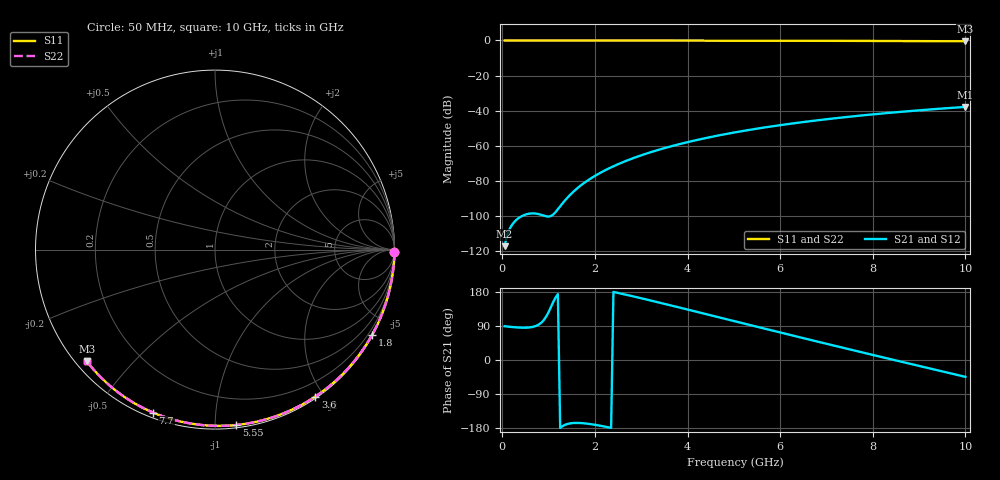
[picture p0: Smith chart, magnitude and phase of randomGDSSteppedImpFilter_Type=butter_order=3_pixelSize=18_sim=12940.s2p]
! freq	dB(S11)	phase(S11)	dB(S12)	phase(S12)
!  dB(S21)	phase(S21)	dB(S22)	phase(S22)
!S-par simulation data
#  GHz  S  DB  R 50
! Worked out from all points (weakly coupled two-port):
!   200 points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, 50 MHz to 10 GHz, reference 50 ohm
!   highest |S21| = -37.82 dB at 10 GHz (marker M1); lowest = -117.1 dB at 50 MHz (marker M2)
!   lowest |S11| = -0.5 dB at 10 GHz (marker M3), VSWR 36.89, Z = 1.55 - j18.7 ohm
!   |S11| at or under -10 dB: nowhere
!   |S22| runs from -0.5 to 0.0 dB; largest |S21 - S12| = 0
!   S11 on the Smith chart (normalised r, x): 50 MHz: open; 1.8 GHz: 0.03, -3.94; 3.6 GHz: 0.02, -1.89; 5.55 GHz: 0.02, -1.13; 7.7 GHz: 0.02, -0.69; 10 GHz: 0.03, -0.37
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0.05  -0.00 -0.8  -117.11 89.2  -117.11 89.2  -0.00 -0.8
0.45  -0.01 -7.2  -99.63 85.2  -99.63 85.2  -0.01 -7.2
0.9  -0.02 -14.4  -99.75 105.9  -99.75 105.9  -0.02 -14.4
1.75  -0.04 -27.7  -81.44 -166.9  -81.44 -166.9  -0.04 -27.7
1.8  -0.04 -28.5  -80.49 -167.5  -80.49 -167.5  -0.04 -28.5
1.85  -0.04 -29.3  -79.59 -168.3  -79.59 -168.3  -0.04 -29.3
2.05  -0.04 -32.4  -76.32 -172.0  -76.32 -172.0  -0.04 -32.4
2.25  -0.05 -35.4  -73.50 -176.6  -73.50 -176.6  -0.05 -35.4
2.55  -0.05 -40.0  -69.87 175.6  -69.87 175.6  -0.05 -40.0
2.95  -0.06 -46.0  -65.83 164.4  -65.83 164.4  -0.06 -46.0
3.4  -0.07 -52.7  -62.05 151.2  -62.05 151.2  -0.07 -52.7
3.6  -0.07 -55.7  -60.57 145.2  -60.57 145.2  -0.07 -55.7
3.9  -0.08 -60.0  -58.52 136.2  -58.52 136.2  -0.08 -60.0
4.3  -0.09 -65.7  -56.08 124.1  -56.08 124.1  -0.09 -65.7
5.05  -0.12 -76.2  -52.20 101.3  -52.20 101.3  -0.12 -76.2
5.55  -0.14 -83.0  -49.99 86.2  -49.99 86.2  -0.14 -83.0
6.1  -0.16 -90.3  -47.85 69.6  -47.85 69.6  -0.16 -90.4
6.7  -0.19 -98.2  -45.78 51.7  -45.78 51.7  -0.19 -98.2
7.7  -0.25 -110.8  -42.85 22.1  -42.85 22.1  -0.25 -110.8
8.35  -0.30 -118.9  -41.22 3.2  -41.22 3.2  -0.30 -118.9
9.2  -0.38 -129.2  -39.35 -21.4  -39.35 -21.4  -0.38 -129.3
10  -0.47 -138.9  -37.82 -44.5  -37.82 -44.5  -0.47 -139.0
